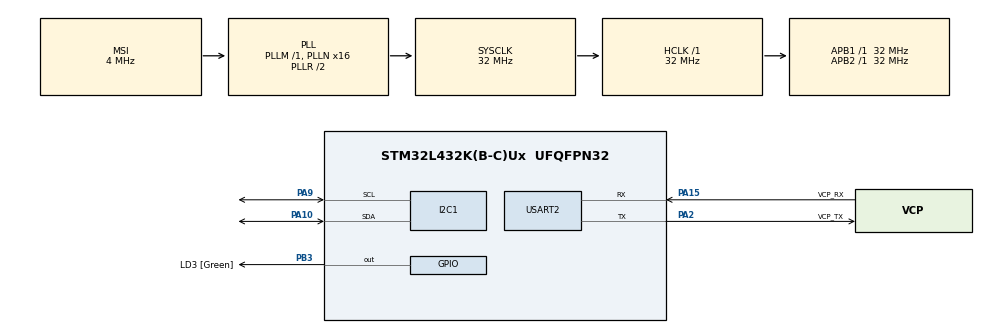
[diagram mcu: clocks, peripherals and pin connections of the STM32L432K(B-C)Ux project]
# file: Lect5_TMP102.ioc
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I2C1.Timing=0x00707CBB
Mcu.Family=STM32L4
Mcu.Name=STM32L432K(B-C)Ux
Mcu.Package=UFQFPN32
NVIC.PriorityGroup=NVIC_PRIORITYGROUP_4
PA0.GPIO_Label=MCO [High speed clock in]
PA0.Mode=HSE-External-Clock-Source-for-LittleOrca
PA0.Signal=RCC_CK_IN
PA10.Mode=I2C
PA10.Signal=I2C1_SDA
PA13\ (JTMS-SWDIO).GPIO_Label=SWDIO
PA13\ (JTMS-SWDIO).Mode=Serial_Wire
PA13\ (JTMS-SWDIO).Signal=SYS_JTMS-SWDIO
PA14\ (JTCK-SWCLK).GPIO_Label=SWCLK
PA14\ (JTCK-SWCLK).Mode=Serial_Wire
PA14\ (JTCK-SWCLK).Signal=SYS_JTCK-SWCLK
PA15\ (JTDI).GPIO_Label=VCP_RX
PA15\ (JTDI).Mode=Asynchronous
PA15\ (JTDI).Signal=USART2_RX
PA2.GPIO_Label=VCP_TX
PA2.Mode=Asynchronous
PA2.Signal=USART2_TX
PA9.Mode=I2C
PA9.Signal=I2C1_SCL
PB3\ (JTDO-TRACESWO).GPIO_Label=LD3 [Green]
PB3\ (JTDO-TRACESWO).Signal=GPIO_Output
PC14-OSC32_IN\ (PC14).Mode=LSE-External-Oscillator
PC14-OSC32_IN\ (PC14).Signal=RCC_OSC32_IN
PC15-OSC32_OUT\ (PC15).Mode=LSE-External-Oscillator
PC15-OSC32_OUT\ (PC15).Signal=RCC_OSC32_OUT
ProjectManager.HeapSize=0x200
ProjectManager.StackSize=0x400
ProjectManager.TargetToolchain=STM32CubeIDE
RCC.AHBFreq_Value=32000000
RCC.APB1Freq_Value=32000000
RCC.APB1TimFreq_Value=32000000
RCC.APB2Freq_Value=32000000
RCC.APB2TimFreq_Value=32000000
RCC.CortexFreq_Value=32000000
RCC.HCLKFreq_Value=32000000
RCC.HSE_VALUE=8000000
RCC.HSI16_VALUE=16000000
RCC.HSI48_VALUE=48000000
RCC.HSI_VALUE=16000000
RCC.MSI_VALUE=4000000
RCC.PLLMUL=RCC_PLLMUL_4
RCC.PLLN=16
RCC.SYSCLKFreq_VALUE=32000000
RCC.SYSCLKSource=RCC_SYSCLKSOURCE_PLLCLK
RCC.VCOOutputFreq_Value=64000000
USART2.VirtualMode-Asynchronous=VM_ASYNC
board=NUCLEO-L432KC

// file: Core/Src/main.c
/* USER CODE BEGIN Header */
/**
  ******************************************************************************
  * @file           : main.c
  * @brief          : Main program body
  ******************************************************************************
  * @attention
  *
  * <h2><center>&copy; Copyright (c) 2020 STMicroelectronics.
  * All rights reserved.</center></h2>
  *
  * This software component is licensed by ST under BSD 3-Clause license,
  * the "License"; You may not use this file except in compliance with the
  * License. You may obtain a copy of the License at:
  *                        opensource.org/licenses/BSD-3-Clause
  *
  ******************************************************************************
  */
/* USER CODE END Header */
#include "main.h"

/* USER CODE BEGIN Includes */
#include <stdio.h>	// Include to avoid compiler warning for sprintf()
#include <string.h>	// Include to avoid compiler warning for strcpy()
/* USER CODE END Includes */

I2C_HandleTypeDef hi2c1;

UART_HandleTypeDef huart2;

/* USER CODE BEGIN PV */
static const uint8_t TMP102_ADDR = 0x48 << 1;  // Use 8-bit address
static const uint8_t REG_TEMP = 0x00;

/* USER CODE END PV */

void SystemClock_Config(void);
static void MX_GPIO_Init(void);
static void MX_USART2_UART_Init(void);
static void MX_I2C1_Init(void);

int main(void)
{
  /* USER CODE BEGIN 1 */
	HAL_StatusTypeDef ret;
	uint8_t buf[80];
	uint16_t val;
	float temp_c;

  /* USER CODE END 1 */

  /* MCU Configuration--------------------------------------------------------*/

  /* Reset of all peripherals, Initializes the Flash interface and the Systick. */
  HAL_Init();

  /* Configure the system clock */
  SystemClock_Config();

  /* Initialize all configured peripherals */
  MX_GPIO_Init();
  MX_USART2_UART_Init();
  MX_I2C1_Init();
  /* USER CODE BEGIN 2 */

  strcpy((char *)buf,"Starting TMP102 Test...\r\n\r\n");
  HAL_UART_Transmit(&huart2, buf, strlen((char*)buf), HAL_MAX_DELAY);
  // Initialize/Configure TMP102
  buf[0] = 0x01;	// set pointer register to 'config register' (Table 7 data sheet)
  buf[1] = 0x60;	// Configure temperature measurements to 12-bit resolution (Table 10 data sheet)
  buf[2] = 0xA0;	// Configure temperature conversion rate to 4 Hz, AL to normal (Table 11 data sheet)
  ret = HAL_I2C_Master_Transmit(&hi2c1, TMP102_ADDR,  buf,  3,  HAL_MAX_DELAY);	// Write 3 bytes to device at address 0x48<<1 = 0x90
  if(ret!=HAL_OK)
  {
	  strcpy((char *)buf, "Error Tx Configure\r\n");
	  HAL_UART_Transmit(&huart2, buf, strlen((char*)buf),HAL_MAX_DELAY);
	  return 1;
  }
  else
  {
	  buf[0] = REG_TEMP;	// Set pointer register to 'data register' (Table 7 data sheet)
	  ret = HAL_I2C_Master_Transmit(&hi2c1, TMP102_ADDR,  buf,  1,  HAL_MAX_DELAY);	// Send pointer to 'read temp'
	  if(ret!=HAL_OK)
	  {
		  strcpy((char *)buf, "Error Tx\r\n");
		  HAL_UART_Transmit(&huart2, buf, strlen((char*)buf),HAL_MAX_DELAY);
		  return 1;

	  }

  }

  /* USER CODE END 2 */

  /* Infinite loop */
  /* USER CODE BEGIN WHILE */
  while (1)
  {
	  // Read the 2-byte temperature data
	  ret = HAL_I2C_Master_Receive(&hi2c1, TMP102_ADDR, buf, 2, HAL_MAX_DELAY);
	  if(ret!=HAL_OK)
	  {
		  strcpy((char *)buf, "Error Rx\r\n");
	  }
	  else
	  {
		  // Convert to 12-bit temp data (see Tables 8 & 9 in data sheet)
		  val = ((int16_t)buf[0]<<4) | (buf[1]>>4);

		  // Convert to 2's complement since temperature can be negative
		  if(val>0x7FF)
		  {
			  val |= 0xF000;
		  }

		  // Convert temperature to float
		  temp_c = val*0.0625;

		  // Convert temperature to decimal format
		  temp_c *= 100;
		  sprintf((char*)buf, "%u.%02u deg C\r\n",((unsigned int)temp_c/100), ((unsigned int)temp_c%100));
	  }
	  HAL_UART_Transmit(&huart2, buf, strlen((char*)buf),  HAL_MAX_DELAY);
	  HAL_Delay(250);	// Update every 250 mS since TMP102 conversion rate set to 4 Hz
    /* USER CODE END WHILE */

  }
}

void SystemClock_Config(void)
{
  RCC_OscInitTypeDef RCC_OscInitStruct = {0};
  RCC_ClkInitTypeDef RCC_ClkInitStruct = {0};
  RCC_PeriphCLKInitTypeDef PeriphClkInit = {0};

  /** Configure LSE Drive Capability
  */
  HAL_PWR_EnableBkUpAccess();
  __HAL_RCC_LSEDRIVE_CONFIG(RCC_LSEDRIVE_LOW);
  /** Initializes the RCC Oscillators according to the specified parameters
  * in the RCC_OscInitTypeDef structure.
  */
  RCC_OscInitStruct.OscillatorType = RCC_OSCILLATORTYPE_LSE|RCC_OSCILLATORTYPE_MSI;
  RCC_OscInitStruct.LSEState = RCC_LSE_ON;
  RCC_OscInitStruct.MSIState = RCC_MSI_ON;
  RCC_OscInitStruct.MSICalibrationValue = 0;
  RCC_OscInitStruct.MSIClockRange = RCC_MSIRANGE_6;
  RCC_OscInitStruct.PLL.PLLState = RCC_PLL_ON;
  RCC_OscInitStruct.PLL.PLLSource = RCC_PLLSOURCE_MSI;
  RCC_OscInitStruct.PLL.PLLM = 1;
  RCC_OscInitStruct.PLL.PLLN = 16;
  RCC_OscInitStruct.PLL.PLLP = RCC_PLLP_DIV7;
  RCC_OscInitStruct.PLL.PLLQ = RCC_PLLQ_DIV2;
  RCC_OscInitStruct.PLL.PLLR = RCC_PLLR_DIV2;
  if (HAL_RCC_OscConfig(&RCC_OscInitStruct) != HAL_OK)
  {
    Error_Handler();
  }
  /** Initializes the CPU, AHB and APB buses clocks
  */
  RCC_ClkInitStruct.ClockType = RCC_CLOCKTYPE_HCLK|RCC_CLOCKTYPE_SYSCLK
                              |RCC_CLOCKTYPE_PCLK1|RCC_CLOCKTYPE_PCLK2;
  RCC_ClkInitStruct.SYSCLKSource = RCC_SYSCLKSOURCE_PLLCLK;
  RCC_ClkInitStruct.AHBCLKDivider = RCC_SYSCLK_DIV1;
  RCC_ClkInitStruct.APB1CLKDivider = RCC_HCLK_DIV1;
  RCC_ClkInitStruct.APB2CLKDivider = RCC_HCLK_DIV1;

  if (HAL_RCC_ClockConfig(&RCC_ClkInitStruct, FLASH_LATENCY_1) != HAL_OK)
  {
    Error_Handler();
  }
  PeriphClkInit.PeriphClockSelection = RCC_PERIPHCLK_USART2|RCC_PERIPHCLK_I2C1;
  PeriphClkInit.Usart2ClockSelection = RCC_USART2CLKSOURCE_PCLK1;
  PeriphClkInit.I2c1ClockSelection = RCC_I2C1CLKSOURCE_PCLK1;
  if (HAL_RCCEx_PeriphCLKConfig(&PeriphClkInit) != HAL_OK)
  {
    Error_Handler();
  }
  /** Configure the main internal regulator output voltage
  */
  if (HAL_PWREx_ControlVoltageScaling(PWR_REGULATOR_VOLTAGE_SCALE1) != HAL_OK)
  {
    Error_Handler();
  }
  /** Enable MSI Auto calibration
  */
  HAL_RCCEx_EnableMSIPLLMode();
}

static void MX_I2C1_Init(void)
{

  hi2c1.Instance = I2C1;
  hi2c1.Init.Timing = 0x00707CBB;
  hi2c1.Init.OwnAddress1 = 0;
  hi2c1.Init.AddressingMode = I2C_ADDRESSINGMODE_7BIT;
  hi2c1.Init.DualAddressMode = I2C_DUALADDRESS_DISABLE;
  hi2c1.Init.OwnAddress2 = 0;
  hi2c1.Init.OwnAddress2Masks = I2C_OA2_NOMASK;
  hi2c1.Init.GeneralCallMode = I2C_GENERALCALL_DISABLE;
  hi2c1.Init.NoStretchMode = I2C_NOSTRETCH_DISABLE;
  if (HAL_I2C_Init(&hi2c1) != HAL_OK)
  {
    Error_Handler();
  }
  /** Configure Analogue filter
  */
  if (HAL_I2CEx_ConfigAnalogFilter(&hi2c1, I2C_ANALOGFILTER_ENABLE) != HAL_OK)
  {
    Error_Handler();
  }
  /** Configure Digital filter
  */
  if (HAL_I2CEx_ConfigDigitalFilter(&hi2c1, 0) != HAL_OK)
  {
    Error_Handler();
  }

}

static void MX_USART2_UART_Init(void)
{

  huart2.Instance = USART2;
  huart2.Init.BaudRate = 115200;
  huart2.Init.WordLength = UART_WORDLENGTH_8B;
  huart2.Init.StopBits = UART_STOPBITS_1;
  huart2.Init.Parity = UART_PARITY_NONE;
  huart2.Init.Mode = UART_MODE_TX_RX;
  huart2.Init.HwFlowCtl = UART_HWCONTROL_NONE;
  huart2.Init.OverSampling = UART_OVERSAMPLING_16;
  huart2.Init.OneBitSampling = UART_ONE_BIT_SAMPLE_DISABLE;
  huart2.AdvancedInit.AdvFeatureInit = UART_ADVFEATURE_NO_INIT;
  if (HAL_UART_Init(&huart2) != HAL_OK)
  {
    Error_Handler();
  }

}

static void MX_GPIO_Init(void)
{
  GPIO_InitTypeDef GPIO_InitStruct = {0};

  /* GPIO Ports Clock Enable */
  __HAL_RCC_GPIOC_CLK_ENABLE();
  __HAL_RCC_GPIOA_CLK_ENABLE();
  __HAL_RCC_GPIOB_CLK_ENABLE();

  /*Configure GPIO pin Output Level */
  HAL_GPIO_WritePin(LD3_GPIO_Port, LD3_Pin, GPIO_PIN_RESET);

  /*Configure GPIO pin : LD3_Pin */
  GPIO_InitStruct.Pin = LD3_Pin;
  GPIO_InitStruct.Mode = GPIO_MODE_OUTPUT_PP;
  GPIO_InitStruct.Pull = GPIO_NOPULL;
  GPIO_InitStruct.Speed = GPIO_SPEED_FREQ_LOW;
  HAL_GPIO_Init(LD3_GPIO_Port, &GPIO_InitStruct);

}

void Error_Handler(void)
{
}

/************************ (C) COPYRIGHT STMicroelectronics *****END OF FILE****/
